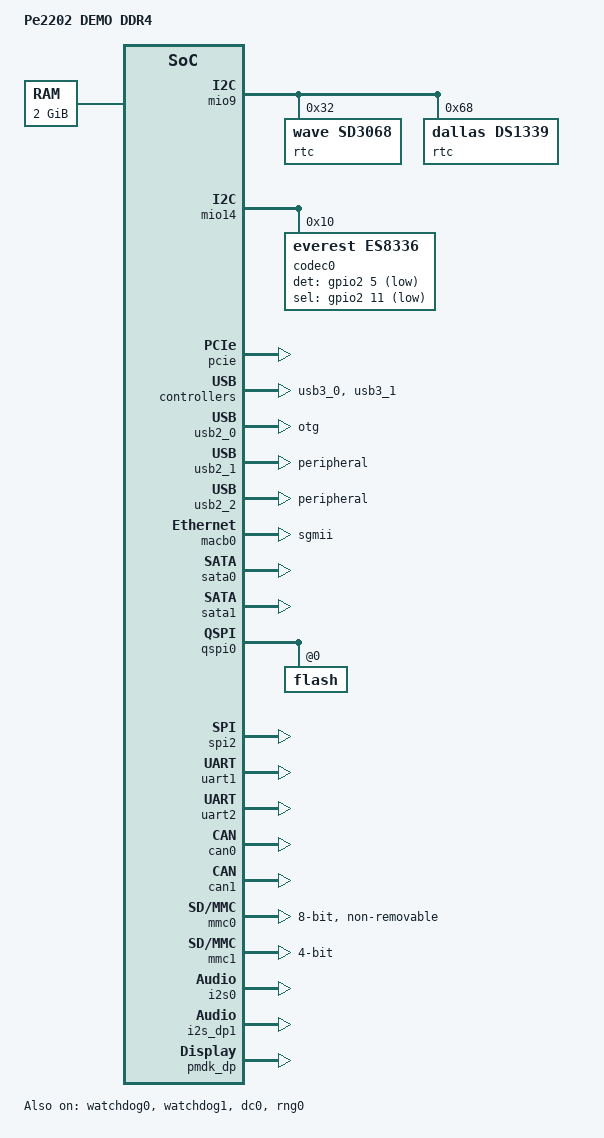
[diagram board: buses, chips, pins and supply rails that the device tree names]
// SPDX-License-Identifier: GPL-2.0
/*
 * DTS file for Phytium Pe2202 demo board
 *
 * Copyright (c) 2022-2023 Phytium Technology Co., Ltd.
 *
 * This program is free software; you can redistribute it and/or
 * modify it under the terms of the GNU General Public License as
 * published by the Free Software Foundation; either version 2 of
 * the License, or (at your option) any later version.
 */

/dts-v1/;
/memreserve/ 0x80000000 0x10000;

#include "pe2202.dtsi"
#include "dt-bindings/gpio/gpio.h"


/{
	model = "Pe2202 DEMO DDR4";
	compatible = "phytium,pe2202";

	chosen {
		stdout-path = "serial1:115200n8";
	};

	memory@00{
		device_type = "memory";
		reg = <0x0 0x80000000 0x0 0x80000000>;
	};

	sound_card: sound {
		compatible = "simple-audio-card";
		simple-audio-card,format = "i2s";
		simple-audio-card,name = "phytium,pe220x-i2s-audio";
		simple-audio-card,pin-switches = "mic-in";
		simple-audio-card,widgets = "Microphone","mic-in";
		simple-audio-card,routing = "MIC2","mic-in";
		simple-audio-card,cpu {
			sound-dai = <&i2s0>;
		};
		simple-audio-card,codec{
			sound-dai = <&codec0>;
		};
	};
};

&soc {
	mio9: i2c@28026000 {
		compatible = "phytium,i2c";
		reg = <0x0 0x28026000 0x0 0x1000>;
		interrupts = <GIC_SPI 101 IRQ_TYPE_LEVEL_HIGH>;
		clocks = <&sysclk_50mhz>;
		#address-cells = <1>;
		#size-cells = <0>;
		status = "okay";

		/* localized demo board use this rtc device */
		rtc@32 {
			compatible = "wave,sd3068";
			reg = <0x32>;
		};

		rtc@68 {
			compatible = "dallas,ds1339";
			reg = <0x68>;
		};
	};

	mio14: i2c@28030000 {
		compatible = "phytium,i2c";
		reg = <0x0 0x28030000 0x0 0x1000>;
		interrupts = <GIC_SPI 106 IRQ_TYPE_LEVEL_HIGH>;
		clocks = <&sysclk_50mhz>;
		#address-cells = <1>;
		#size-cells = <0>;
		status = "okay";

		codec0: es8336@10 {
			det-gpios = <&gpio2 5  GPIO_ACTIVE_LOW>;
			sel-gpios = <&gpio2 11 GPIO_ACTIVE_LOW>;
			#sound-dai-cells = <0>;
			compatible = "everest,es8336";
			reg = <0x10>;
		};
	};
};

&gpio0 {
	status = "okay";
};

&gpio1 {
	status = "okay";
};

&gpio2 {
	status = "okay";
};

&gpio3 {
	status = "okay";
};

&gpio4 {
	status = "okay";
};

&gpio5 {
	status = "okay";
};

&watchdog0 {
	status = "okay";
};

&watchdog1 {
	status = "okay";
};

&pcie {
	status = "okay";
};

&usb3_0 {
	status = "okay";
};

&usb3_1 {
	status = "okay";
};

&usb2_0 {
	dr_mode = "otg";
	status = "okay";
};

&usb2_1 {
	dr_mode = "peripheral";
	status = "okay";
};

&usb2_2 {
	dr_mode = "peripheral";
	status = "okay";
};

&macb0 {
	phy-mode = "sgmii";
	use-mii;
	status = "okay";
};

/*
 * In demo board, M.2 interface may insert two types of disks: PCIE (nvme protocol) or SATA (ahci protocol),
 * so here enable 'sata0' node by default to correspond to the sata drive case. Pin multiplexing exists
 * in PCIE2 and SATA0, when used as a boot disk, the BIOS can automatically recognize these two conditions.
 */
&sata0 {
	status = "okay";
};

&sata1 {
	status = "okay";
};

&qspi0 {
	status = "okay";

	flash@0 {
		status = "okay";
	};
};

&spi2 {
	global-cs = <1>;
	status = "okay";
};

&uart1 {
	status = "okay";
};

&uart2 {
	status = "okay";
};

&can0 {
	status = "okay";
};

&can1 {
	status = "okay";
};

&mmc0 {
	bus-width = <0x00000008>;
	max-frequency = <100000000>;
	cap-mmc-hw-reset;
	cap-mmc-highspeed;
	mmc-hs200-1_8v;
	no-sdio;
	no-sd;
	non-removable;
	status = "okay";
};

&mmc1 {
	bus-width = <0x00000004>;
	max-frequency = <50000000>;
	cap-sdio-irq;
	cap-sd-highspeed;
	no-sdio;
	no-mmc;
	status = "okay";
};

&i2s0 {
	#sound-dai-cells = <0>;
	status = "okay";
};

&dc0 {
	pipe_mask = /bits/ 8 <0x2>;
	edp_mask = /bits/ 8 <0x0>;
	status = "okay";
};

&i2s_dp1 {
	status = "okay";
};

&pmdk_dp {
	num-dp = <1>;
	dp-mask = /bits/ 8 <0x2>;
	status = "okay";
};

&rng0 {
	status = "okay";
};
